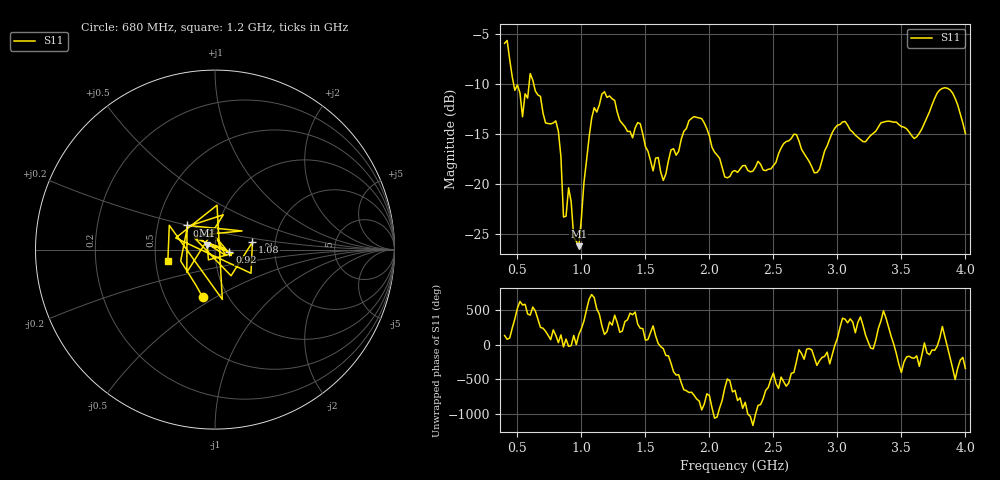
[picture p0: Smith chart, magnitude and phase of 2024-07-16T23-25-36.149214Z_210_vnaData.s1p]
!Created with skrf (http://scikit-rf.org).
# Hz S RI R 50.0
!freq ReS11 ImS11
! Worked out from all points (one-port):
!   181 points, 400 MHz to 4 GHz, reference 50 ohm
!   lowest |S11| = -26.2 dB at 980 MHz (marker M1), VSWR 1.10, Z = 45.8 + j2.11 ohm
!   |S11| at or under -10 dB: 470 MHz to 591.8 MHz (121.8 MHz wide, 22.9 % of centre); 626.7 MHz to end of sweep
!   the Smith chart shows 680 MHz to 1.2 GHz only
!   S11 on the Smith chart (normalised r, x): 680 MHz: 0.76, -0.44; 800 MHz: 0.71, +0.20; 920 MHz: 1.17, -0.03; 1.08 GHz: 1.52, +0.13; 1.2 GHz: 0.58, -0.08
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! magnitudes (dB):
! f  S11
! 400 MHz  -6.0
! 540 MHz  -13.3
! 600 MHz  -9.0
! 680 MHz  -11.3
! 800 MHz  -13.7
! 840 MHz  -17.3
! 860 MHz  -23.3
! 900 MHz  -20.4
! 920 MHz  -21.8
! 940 MHz  -25.3
! 980 MHz  -26.2
! 1.08 GHz  -13.4
! 1.2 GHz  -11.4
! 1.3 GHz  -13.7
! 1.46 GHz  -14.0
! 1.64 GHz  -19.6
! 1.76 GHz  -16.7
! 1.94 GHz  -13.5
! 2.12 GHz  -19.3
! 2.2 GHz  -18.7
! 2.48 GHz  -18.5
! 2.66 GHz  -15.0
! 2.82 GHz  -18.9
! 2.98 GHz  -14.4
! 3.1 GHz  -14.6
! 3.56 GHz  -14.8
! 3.84 GHz  -10.4
! 4 GHz  -15.0
